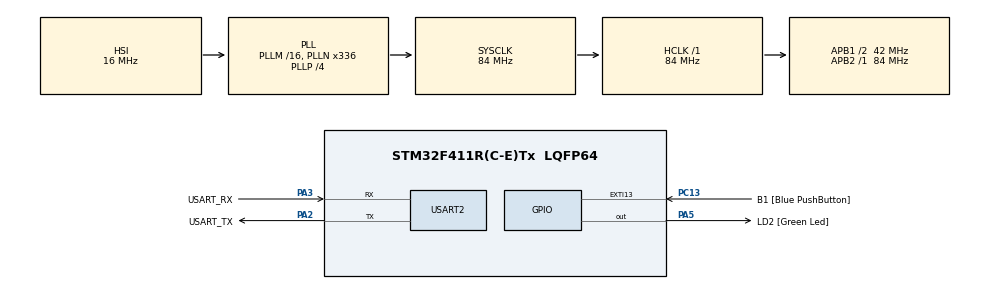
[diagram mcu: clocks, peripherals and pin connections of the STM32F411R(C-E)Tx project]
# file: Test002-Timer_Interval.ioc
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Mcu.Family=STM32F4
Mcu.Name=STM32F411R(C-E)Tx
Mcu.Package=LQFP64
NVIC.PriorityGroup=NVIC_PRIORITYGROUP_0
NVIC.TIM3_IRQn=true\:0\:0\:false\:false\:true\:true\:true\:true
PA13.GPIO_Label=TMS
PA13.Mode=Serial_Wire
PA13.Signal=SYS_JTMS-SWDIO
PA14.GPIO_Label=TCK
PA14.Mode=Serial_Wire
PA14.Signal=SYS_JTCK-SWCLK
PA2.GPIO_Label=USART_TX
PA2.Mode=Asynchronous
PA2.Signal=USART2_TX
PA3.GPIO_Label=USART_RX
PA3.Mode=Asynchronous
PA3.Signal=USART2_RX
PA5.GPIO_Label=LD2 [Green Led]
PA5.Signal=GPIO_Output
PB3.GPIO_Label=SWO
PB3.Signal=SYS_JTDO-SWO
PC13-ANTI_TAMP.GPIO_Label=B1 [Blue PushButton]
PC13-ANTI_TAMP.GPIO_ModeDefaultEXTI=GPIO_MODE_IT_FALLING
PC13-ANTI_TAMP.Signal=GPXTI13
PC14-OSC32_IN.Mode=LSE-External-Oscillator
PC14-OSC32_IN.Signal=RCC_OSC32_IN
PC15-OSC32_OUT.Mode=LSE-External-Oscillator
PC15-OSC32_OUT.Signal=RCC_OSC32_OUT
PH0\ -\ OSC_IN.Mode=HSE-External-Clock-Source
PH0\ -\ OSC_IN.Signal=RCC_OSC_IN
PH1\ -\ OSC_OUT.Mode=HSE-External-Clock-Source
PH1\ -\ OSC_OUT.Signal=RCC_OSC_OUT
ProjectManager.HeapSize=0x200
ProjectManager.StackSize=0x400
ProjectManager.TargetToolchain=STM32CubeIDE
RCC.48MHZClocksFreq_Value=84000000
RCC.AHBFreq_Value=84000000
RCC.APB1CLKDivider=RCC_HCLK_DIV2
RCC.APB1Freq_Value=42000000
RCC.APB1TimFreq_Value=84000000
RCC.APB2Freq_Value=84000000
RCC.APB2TimFreq_Value=84000000
RCC.CortexFreq_Value=84000000
RCC.FLatency-AdvancedSettings=FLASH_LATENCY_2
RCC.HCLKFreq_Value=84000000
RCC.HSE_VALUE=8000000
RCC.HSI_VALUE=16000000
RCC.PLLN=336
RCC.PLLP=RCC_PLLP_DIV4
RCC.SYSCLKFreq_VALUE=84000000
RCC.SYSCLKSource=RCC_SYSCLKSOURCE_PLLCLK
RCC.VCOOutputFreq_Value=336000000
TIM3.Period=10000 - 1
TIM3.Prescaler=8400 - 1
USART2.VirtualMode=VM_ASYNC
VP_TIM3_VS_ClockSourceINT.Mode=Internal
board=NUCLEO-F411RE

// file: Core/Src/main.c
/* USER CODE BEGIN Header */
/**
  ******************************************************************************
  * @file           : main.c
  * @brief          : Main program body
  ******************************************************************************
  * @attention
  *
  * Copyright (c) 2025 STMicroelectronics.
  * All rights reserved.
  *
  * This software is licensed under terms that can be found in the LICENSE file
  * in the root directory of this software component.
  * If no LICENSE file comes with this software, it is provided AS-IS.
  *
  ******************************************************************************
  */
/* USER CODE END Header */
#include "main.h"

/* USER CODE BEGIN Includes */
#include <stdio.h>

/* USER CODE END Includes */

TIM_HandleTypeDef htim3;

UART_HandleTypeDef huart2;

void SystemClock_Config(void);
static void MX_GPIO_Init(void);
static void MX_USART2_UART_Init(void);
static void MX_TIM3_Init(void);

/* USER CODE BEGIN 0 */
volatile int yy = 0; // year
volatile int mm = 0; // month
volatile int dd = 0; // day
volatile int h = 23; // hour
volatile int m = 59; // minute
volatile int s = 50; // second

// *** Timer Interrupt ISR  *** //
void HAL_TIM_PeriodElapsedCallback(TIM_HandleTypeDef *htim)
{
	// Set Timer3 Parameter : PSC = (8400 - 1) & ARR = (10000 - 1)
	// Per 1 sec, Timer3 Interrupt occurs.
	/*
	if (htim == &htim3)
	{
		s++; mode = !mode;
		if ( s >= 60 )
		{
			m++; s = 0;
			if ( m >= 60 )
			{
				h++; m = 0;
				if ( h >= 24 )
				{
					dd++; h = 0;
				}
			}
		}
	}
	*/

	if (htim == &htim3)
	{
		s++;
		m = ( s >= 60 ) ? (s = 0, m + 1) : m;
		h = ( m >= 60 ) ? (m = 0, h + 1) : h;
	}

}

// *** Timer Interrupt ISR  *** //

/* USER CODE END 0 */

int main(void)
{

  /* MCU Configuration--------------------------------------------------------*/

  /* Reset of all peripherals, Initializes the Flash interface and the Systick. */
  HAL_Init();

  /* Configure the system clock */
  SystemClock_Config();

  /* Initialize all configured peripherals */
  MX_GPIO_Init();
  MX_USART2_UART_Init();
  MX_TIM3_Init();
  /* USER CODE BEGIN 2 */
  ProgramStart("Stopwatch");
  HAL_TIM_Base_Start_IT(&htim3); // Start Timer3 as Interrupt

  /* USER CODE END 2 */

  /* Infinite loop */
  /* USER CODE BEGIN WHILE */
  while (1)
  {
	  printf("sec : %02d min : %02d hour : %02d \r\n ", s, m, h);
	  HAL_Delay(1000);
	  /* USER CODE END WHILE */

  }
}

void SystemClock_Config(void)
{
  RCC_OscInitTypeDef RCC_OscInitStruct = {0};
  RCC_ClkInitTypeDef RCC_ClkInitStruct = {0};

  /** Configure the main internal regulator output voltage
  */
  __HAL_RCC_PWR_CLK_ENABLE();
  __HAL_PWR_VOLTAGESCALING_CONFIG(PWR_REGULATOR_VOLTAGE_SCALE1);

  /** Initializes the RCC Oscillators according to the specified parameters
  * in the RCC_OscInitTypeDef structure.
  */
  RCC_OscInitStruct.OscillatorType = RCC_OSCILLATORTYPE_HSI;
  RCC_OscInitStruct.HSIState = RCC_HSI_ON;
  RCC_OscInitStruct.HSICalibrationValue = RCC_HSICALIBRATION_DEFAULT;
  RCC_OscInitStruct.PLL.PLLState = RCC_PLL_ON;
  RCC_OscInitStruct.PLL.PLLSource = RCC_PLLSOURCE_HSI;
  RCC_OscInitStruct.PLL.PLLM = 16;
  RCC_OscInitStruct.PLL.PLLN = 336;
  RCC_OscInitStruct.PLL.PLLP = RCC_PLLP_DIV4;
  RCC_OscInitStruct.PLL.PLLQ = 4;
  if (HAL_RCC_OscConfig(&RCC_OscInitStruct) != HAL_OK)
  {
    Error_Handler();
  }

  /** Initializes the CPU, AHB and APB buses clocks
  */
  RCC_ClkInitStruct.ClockType = RCC_CLOCKTYPE_HCLK|RCC_CLOCKTYPE_SYSCLK
                              |RCC_CLOCKTYPE_PCLK1|RCC_CLOCKTYPE_PCLK2;
  RCC_ClkInitStruct.SYSCLKSource = RCC_SYSCLKSOURCE_PLLCLK;
  RCC_ClkInitStruct.AHBCLKDivider = RCC_SYSCLK_DIV1;
  RCC_ClkInitStruct.APB1CLKDivider = RCC_HCLK_DIV2;
  RCC_ClkInitStruct.APB2CLKDivider = RCC_HCLK_DIV1;

  if (HAL_RCC_ClockConfig(&RCC_ClkInitStruct, FLASH_LATENCY_2) != HAL_OK)
  {
    Error_Handler();
  }
}

static void MX_TIM3_Init(void)
{

  TIM_ClockConfigTypeDef sClockSourceConfig = {0};
  TIM_MasterConfigTypeDef sMasterConfig = {0};

  htim3.Instance = TIM3;
  htim3.Init.Prescaler = 8400 - 1;
  htim3.Init.CounterMode = TIM_COUNTERMODE_UP;
  htim3.Init.Period = 10000 - 1;
  htim3.Init.ClockDivision = TIM_CLOCKDIVISION_DIV1;
  htim3.Init.AutoReloadPreload = TIM_AUTORELOAD_PRELOAD_DISABLE;
  if (HAL_TIM_Base_Init(&htim3) != HAL_OK)
  {
    Error_Handler();
  }
  sClockSourceConfig.ClockSource = TIM_CLOCKSOURCE_INTERNAL;
  if (HAL_TIM_ConfigClockSource(&htim3, &sClockSourceConfig) != HAL_OK)
  {
    Error_Handler();
  }
  sMasterConfig.MasterOutputTrigger = TIM_TRGO_RESET;
  sMasterConfig.MasterSlaveMode = TIM_MASTERSLAVEMODE_DISABLE;
  if (HAL_TIMEx_MasterConfigSynchronization(&htim3, &sMasterConfig) != HAL_OK)
  {
    Error_Handler();
  }

}

static void MX_USART2_UART_Init(void)
{

  huart2.Instance = USART2;
  huart2.Init.BaudRate = 115200;
  huart2.Init.WordLength = UART_WORDLENGTH_8B;
  huart2.Init.StopBits = UART_STOPBITS_1;
  huart2.Init.Parity = UART_PARITY_NONE;
  huart2.Init.Mode = UART_MODE_TX_RX;
  huart2.Init.HwFlowCtl = UART_HWCONTROL_NONE;
  huart2.Init.OverSampling = UART_OVERSAMPLING_16;
  if (HAL_UART_Init(&huart2) != HAL_OK)
  {
    Error_Handler();
  }

}

static void MX_GPIO_Init(void)
{
  GPIO_InitTypeDef GPIO_InitStruct = {0};

  /* GPIO Ports Clock Enable */
  __HAL_RCC_GPIOC_CLK_ENABLE();
  __HAL_RCC_GPIOH_CLK_ENABLE();
  __HAL_RCC_GPIOA_CLK_ENABLE();
  __HAL_RCC_GPIOB_CLK_ENABLE();

  /*Configure GPIO pin Output Level */
  HAL_GPIO_WritePin(LD2_GPIO_Port, LD2_Pin, GPIO_PIN_RESET);

  /*Configure GPIO pin : B1_Pin */
  GPIO_InitStruct.Pin = B1_Pin;
  GPIO_InitStruct.Mode = GPIO_MODE_IT_FALLING;
  GPIO_InitStruct.Pull = GPIO_NOPULL;
  HAL_GPIO_Init(B1_GPIO_Port, &GPIO_InitStruct);

  /*Configure GPIO pin : LD2_Pin */
  GPIO_InitStruct.Pin = LD2_Pin;
  GPIO_InitStruct.Mode = GPIO_MODE_OUTPUT_PP;
  GPIO_InitStruct.Pull = GPIO_NOPULL;
  GPIO_InitStruct.Speed = GPIO_SPEED_FREQ_LOW;
  HAL_GPIO_Init(LD2_GPIO_Port, &GPIO_InitStruct);

}

void Error_Handler(void)
{
  __disable_irq();
  while (1)
  {
  }
}
